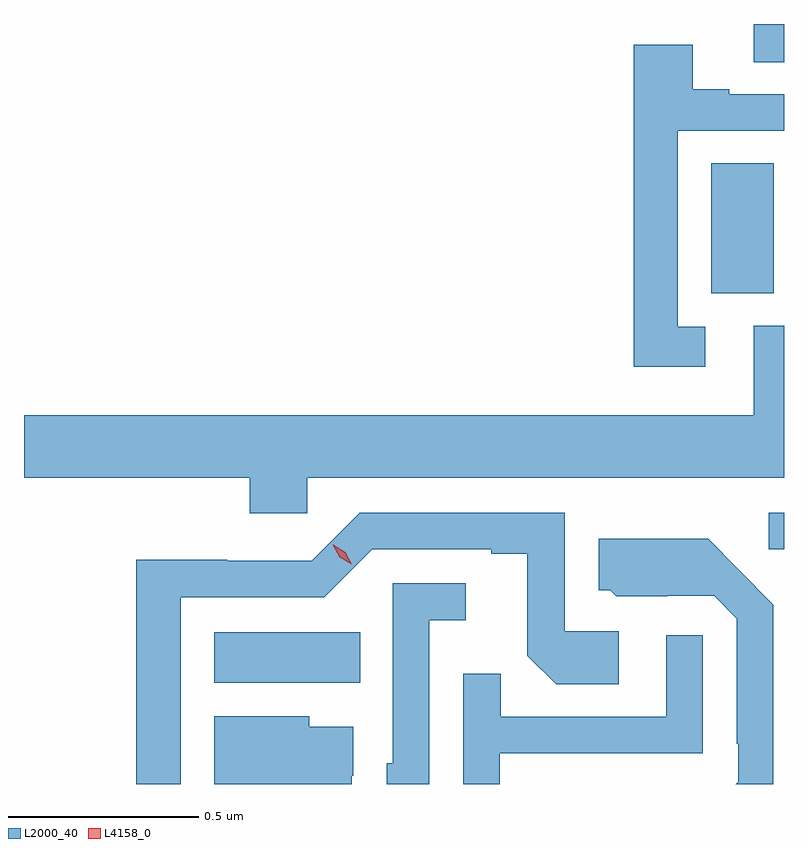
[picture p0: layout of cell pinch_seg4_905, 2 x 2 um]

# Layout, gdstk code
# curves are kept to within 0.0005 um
import gdstk
lib = gdstk.Library(unit=1e-6, precision=1e-09)
def R(c, l, rs):  # rectangles x0, y0, x1, y1
    for r in rs: c.add(gdstk.rectangle(r[:2], r[2:], *l))
def P(c, l, *ps):  # polygons
    for p in ps: c.add(gdstk.Polygon(p, *l))
L2000_40 = (2000, 40)
L4158_0 = (4158, 0)

pinch_seg4_905 = lib.new_cell('pinch_seg4_905')
R(pinch_seg4_905, L2000_40, [(700.808,824.252,701.192,824.386), (702.267,824.604,702.307,824.7), (702.116,825.277,702.28,825.62), (702.227,825.886,702.307,825.986)])
P(pinch_seg4_905, L2000_40, [(702.1,825.189),(702.027,825.189),(702.027,825.705),(702.307,825.705),(702.307,825.801),(702.163,825.801),(702.163,825.814),(702.067,825.814),(702.067,825.931),(701.911,825.931),(701.911,825.084),(702.1,825.084)],
  [(701.052,824.792),(702.307,824.792),(702.307,825.192),(702.227,825.192),(702.227,824.956),(700.307,824.956),(700.307,824.792),(700.901,824.792),(700.901,824.699),(701.052,824.699)],
  [(700.72,824.478),(701.097,824.478),(701.223,824.604),(701.537,824.604),(701.537,824.592),(701.631,824.592),(701.631,824.324),(701.707,824.248),(701.872,824.248),(701.872,824.388),(701.73,824.388),(701.73,824.7),(701.19,824.7),(701.064,824.574),(700.842,824.574),(700.842,824.576),(700.602,824.576),(700.602,823.986),(700.72,823.986)],
  [(702.279,824.458),(702.107,824.632),(701.819,824.632),(701.819,824.496),(701.85,824.496),(701.866,824.48),(702,824.48),(702,824.481),(702.123,824.481),(702.183,824.421),(702.183,824.092),(702.186,824.092),(702.186,823.992),(702.18,823.986),(702.279,823.986)],
  [(701.373,824.417),(701.47,824.417),(701.47,824.514),(701.277,824.514),(701.277,824.04),(701.262,824.04),(701.262,823.986),(701.373,823.986)],
  [(701.559,824.067),(702.093,824.067),(702.093,824.377),(701.997,824.377),(701.997,824.163),(701.561,824.163),(701.561,824.276),(701.463,824.276),(701.463,823.986),(701.559,823.986)],
  [(701.169,824.008),(701.173,824.008),(701.173,824.137),(701.058,824.137),(701.058,824.164),(700.808,824.164),(700.808,823.986),(701.169,823.986)])
P(pinch_seg4_905, L4158_0, [(701.169,824.564),(701.138,824.583),(701.12,824.615),(701.12,824.616),(701.121,824.616),(701.152,824.596),(701.169,824.564),(701.169,824.564)])

lib.write_gds('pinch_seg4_905.gds')
